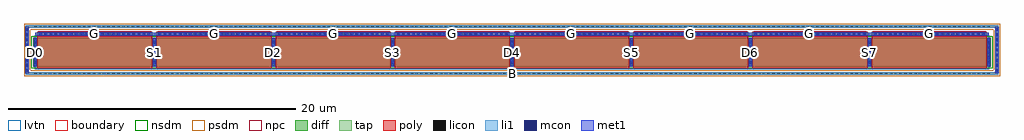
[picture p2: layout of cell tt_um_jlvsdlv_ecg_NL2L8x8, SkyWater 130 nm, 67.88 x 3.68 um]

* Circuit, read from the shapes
.subckt tt_um_jlvsdlv_ecg_NL2L8x8 B D0 D2 D4 D6 G S1 S3 S5 S7
XM1 S1 G D0 B sky130_fd_pr__nfet_01v8_lvt w=2 l=8
XM2 D2 G S1 B sky130_fd_pr__nfet_01v8_lvt w=2 l=8
XM3 S3 G D2 B sky130_fd_pr__nfet_01v8_lvt w=2 l=8
XM4 D4 G S3 B sky130_fd_pr__nfet_01v8_lvt w=2 l=8
XM5 S5 G D4 B sky130_fd_pr__nfet_01v8_lvt w=2 l=8
XM6 D6 G S5 B sky130_fd_pr__nfet_01v8_lvt w=2 l=8
XM7 S7 G D6 B sky130_fd_pr__nfet_01v8_lvt w=2 l=8
XM8 n1 G S7 B sky130_fd_pr__nfet_01v8_lvt w=2 l=8
.ends

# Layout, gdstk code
import gdstk
lib = gdstk.Library(unit=1e-6, precision=1e-09)
def R(c, l, rs):  # rectangles x0, y0, x1, y1
    for r in rs: c.add(gdstk.rectangle(r[:2], r[2:], *l))
def A(c, l, x, y, w, h, nx, ny, dx, dy):  # array of equal rectangles
    R(c, l, [(x+i*dx, y+j*dy, x+i*dx+w, y+j*dy+h) for i in range(nx) for j in range(ny)])
diff = (65, 20)
tap = (65, 44)
poly = (66, 20)
licon = (66, 44)
li1 = (67, 20)
mcon = (67, 44)
met1 = (68, 20)
nsdm = (93, 44)
psdm = (94, 20)
npc = (95, 20)
lvtn = (125, 44)
boundary = (235, 4)

tt_um_jlvsdlv_ecg_nl2l8x = lib.new_cell('tt_um_jlvsdlv_ecg_NL2L8x8')
R(tt_um_jlvsdlv_ecg_nl2l8x, diff, [(-33.305,-1.155,33.305,0.845)])
R(tt_um_jlvsdlv_ecg_nl2l8x, tap, [(-33.815,-1.715,33.815,-1.545), (-33.815,-1.545,-33.645,1.545), (33.645,-1.545,33.815,1.545), (-33.815,1.545,33.815,1.715)])
A(tt_um_jlvsdlv_ecg_nl2l8x, poly, -33.015, -1.285, 8, 2.57, 8, 1, 8.29, 0)
A(tt_um_jlvsdlv_ecg_nl2l8x, licon, -33.235, -1.715, 0.17, 0.17, 196, 2, 0.34, 3.26)
A(tt_um_jlvsdlv_ecg_nl2l8x, licon, -33.815, -1.105, 0.17, 0.17, 1, 7, 0, 0.34)
A(tt_um_jlvsdlv_ecg_nl2l8x, licon, 33.645, -1.105, 0.17, 0.17, 1, 7, 0, 0.34)
A(tt_um_jlvsdlv_ecg_nl2l8x, licon, -33.245, -1.09, 0.17, 0.17, 9, 6, 8.29, 0.34)
A(tt_um_jlvsdlv_ecg_nl2l8x, licon, -32.84, 1.035, 0.17, 0.17, 23, 1, 0.34, 0)
A(tt_um_jlvsdlv_ecg_nl2l8x, licon, -24.55, 1.035, 0.17, 0.17, 23, 1, 0.34, 0)
A(tt_um_jlvsdlv_ecg_nl2l8x, licon, -16.26, 1.035, 0.17, 0.17, 23, 1, 0.34, 0)
A(tt_um_jlvsdlv_ecg_nl2l8x, licon, -7.97, 1.035, 0.17, 0.17, 23, 1, 0.34, 0)
A(tt_um_jlvsdlv_ecg_nl2l8x, licon, 0.32, 1.035, 0.17, 0.17, 23, 1, 0.34, 0)
A(tt_um_jlvsdlv_ecg_nl2l8x, licon, 8.61, 1.035, 0.17, 0.17, 23, 1, 0.34, 0)
A(tt_um_jlvsdlv_ecg_nl2l8x, licon, 16.9, 1.035, 0.17, 0.17, 23, 1, 0.34, 0)
A(tt_um_jlvsdlv_ecg_nl2l8x, licon, 25.19, 1.035, 0.17, 0.17, 23, 1, 0.34, 0)
A(tt_um_jlvsdlv_ecg_nl2l8x, li1, -33.245, -1.175, 0.17, 2.04, 9, 1, 8.29, 0)
R(tt_um_jlvsdlv_ecg_nl2l8x, li1, [(-33.815,-1.715,33.815,-1.545), (-33.815,-1.545,-33.645,1.545), (33.645,-1.545,33.815,1.545), (-33.16,1.035,33.16,1.205), (-33.815,1.545,33.815,1.715)])
A(tt_um_jlvsdlv_ecg_nl2l8x, mcon, -33.815, -1.525, 0.17, 0.17, 1, 9, 0, 0.36)
A(tt_um_jlvsdlv_ecg_nl2l8x, mcon, 33.645, -1.525, 0.17, 0.17, 1, 9, 0, 0.36)
A(tt_um_jlvsdlv_ecg_nl2l8x, mcon, -33.245, -0.96, 0.17, 0.17, 9, 5, 8.29, 0.36)
A(tt_um_jlvsdlv_ecg_nl2l8x, mcon, -32.88, 1.035, 0.17, 0.17, 22, 1, 0.36, 0)
A(tt_um_jlvsdlv_ecg_nl2l8x, mcon, -24.59, 1.035, 0.17, 0.17, 22, 1, 0.36, 0)
A(tt_um_jlvsdlv_ecg_nl2l8x, mcon, -16.3, 1.035, 0.17, 0.17, 22, 1, 0.36, 0)
A(tt_um_jlvsdlv_ecg_nl2l8x, mcon, -8.01, 1.035, 0.17, 0.17, 22, 1, 0.36, 0)
A(tt_um_jlvsdlv_ecg_nl2l8x, mcon, 0.28, 1.035, 0.17, 0.17, 22, 1, 0.36, 0)
A(tt_um_jlvsdlv_ecg_nl2l8x, mcon, 8.57, 1.035, 0.17, 0.17, 22, 1, 0.36, 0)
A(tt_um_jlvsdlv_ecg_nl2l8x, mcon, 16.86, 1.035, 0.17, 0.17, 22, 1, 0.36, 0)
A(tt_um_jlvsdlv_ecg_nl2l8x, mcon, 25.15, 1.035, 0.17, 0.17, 22, 1, 0.36, 0)
A(tt_um_jlvsdlv_ecg_nl2l8x, met1, -33.275, -1.155, 0.23, 2, 9, 1, 8.29, 0)
A(tt_um_jlvsdlv_ecg_nl2l8x, met1, -32.995, 1.005, 7.96, 0.03, 8, 2, 8.29, 0.2)
R(tt_um_jlvsdlv_ecg_nl2l8x, met1, [(-33.845,-1.605,-33.615,1.605), (33.615,-1.605,33.845,1.605), (-33.16,1.035,33.16,1.205)])
R(tt_um_jlvsdlv_ecg_nl2l8x, nsdm, [(-33.43,-1.28,33.43,0.97)])
R(tt_um_jlvsdlv_ecg_nl2l8x, psdm, [(-33.94,-1.84,33.94,-1.42), (-33.94,-1.42,-33.52,1.42), (33.52,-1.42,33.94,1.42), (-33.94,1.42,33.94,1.84)])
A(tt_um_jlvsdlv_ecg_nl2l8x, npc, -32.94, 0.935, 7.85, 0.37, 8, 1, 8.29, 0)
R(tt_um_jlvsdlv_ecg_nl2l8x, lvtn, [(-33.195,-1.335,33.195,1.025)])
R(tt_um_jlvsdlv_ecg_nl2l8x, boundary, [(-33.73,-1.63,33.73,1.63)])
tt_um_jlvsdlv_ecg_nl2l8x.add(gdstk.Label('B', (0,-1.63), layer=67, texttype=5))
tt_um_jlvsdlv_ecg_nl2l8x.add(gdstk.Label('D0', (-33.16,-0.155), layer=67, texttype=5))
tt_um_jlvsdlv_ecg_nl2l8x.add(gdstk.Label('G', (29.015,1.12), layer=67, texttype=5))
tt_um_jlvsdlv_ecg_nl2l8x.add(gdstk.Label('G', (20.725,1.12), layer=67, texttype=5))
tt_um_jlvsdlv_ecg_nl2l8x.add(gdstk.Label('G', (12.435,1.12), layer=67, texttype=5))
tt_um_jlvsdlv_ecg_nl2l8x.add(gdstk.Label('G', (4.145,1.12), layer=67, texttype=5))
tt_um_jlvsdlv_ecg_nl2l8x.add(gdstk.Label('G', (-4.145,1.12), layer=67, texttype=5))
tt_um_jlvsdlv_ecg_nl2l8x.add(gdstk.Label('G', (-12.435,1.12), layer=67, texttype=5))
tt_um_jlvsdlv_ecg_nl2l8x.add(gdstk.Label('G', (-20.725,1.12), layer=67, texttype=5))
tt_um_jlvsdlv_ecg_nl2l8x.add(gdstk.Label('G', (-29.015,1.12), layer=67, texttype=5))
tt_um_jlvsdlv_ecg_nl2l8x.add(gdstk.Label('S1', (-24.87,-0.155), layer=67, texttype=5))
tt_um_jlvsdlv_ecg_nl2l8x.add(gdstk.Label('D2', (-16.58,-0.155), layer=67, texttype=5))
tt_um_jlvsdlv_ecg_nl2l8x.add(gdstk.Label('S3', (-8.29,-0.155), layer=67, texttype=5))
tt_um_jlvsdlv_ecg_nl2l8x.add(gdstk.Label('D4', (0,-0.155), layer=67, texttype=5))
tt_um_jlvsdlv_ecg_nl2l8x.add(gdstk.Label('S5', (8.29,-0.155), layer=67, texttype=5))
tt_um_jlvsdlv_ecg_nl2l8x.add(gdstk.Label('D6', (16.58,-0.155), layer=67, texttype=5))
tt_um_jlvsdlv_ecg_nl2l8x.add(gdstk.Label('S7', (24.87,-0.155), layer=67, texttype=5))

lib.write_gds('tt_um_jlvsdlv_ecg_NL2L8x8.gds')
